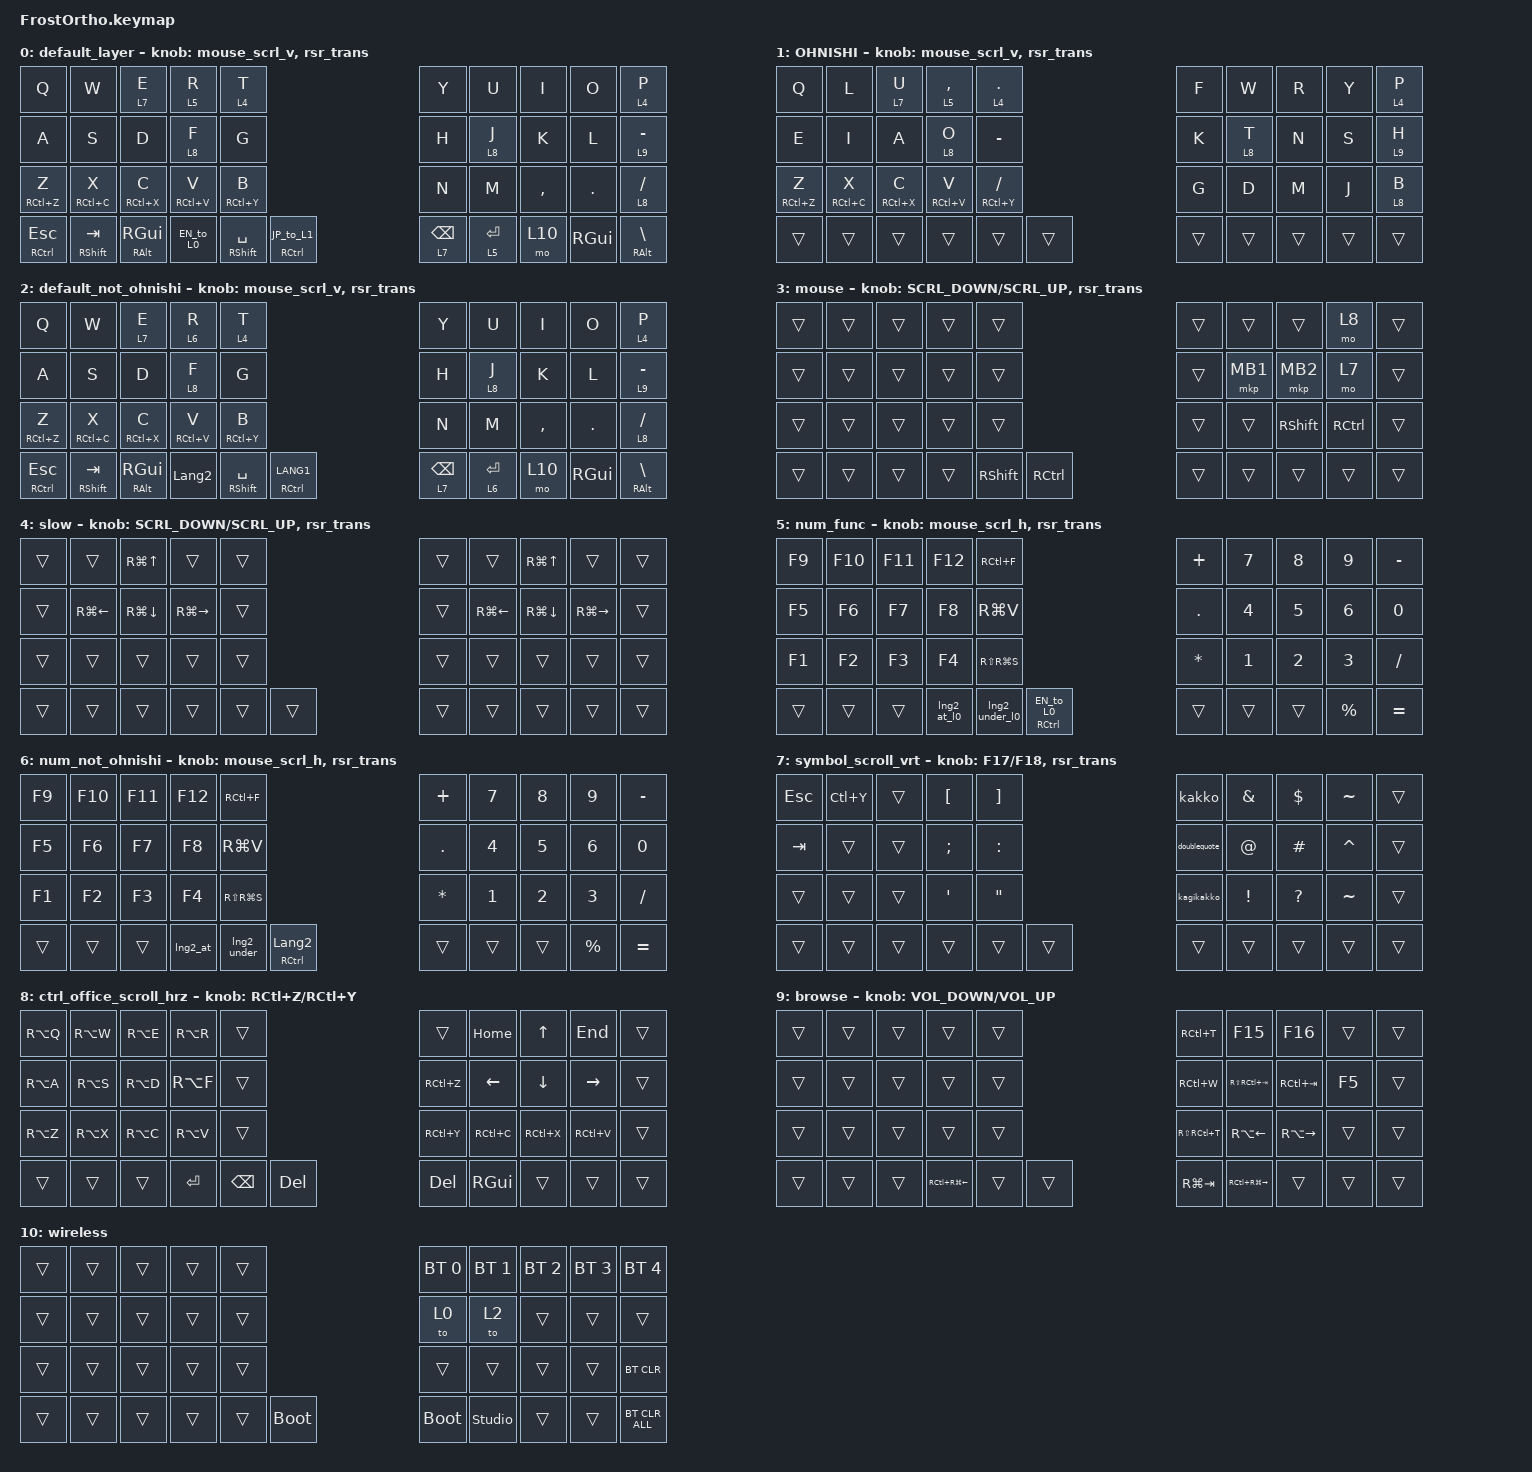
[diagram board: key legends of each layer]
#define ZMK_POINTING_DEFAULT_SCRL_VAL 150

#include <input/processors.dtsi>
#include <behaviors/runtime-sensor-rotate.dtsi>
#include <behaviors/runtime-sensor-rotate.dtsi>
#include <behaviors.dtsi>
#include <dt-bindings/zmk/bt.h>
#include <dt-bindings/zmk/keys.h>
#include <dt-bindings/zmk/pointing.h>

#define MOUSE 3

// AML クリックしたときにタイムアウトを延長
//解除キー廃止に伴い時間変更10000→400

&mkp_input_listener { input-processors = <&zip_temp_layer MOUSE 400>; };

/ {
    combos {
        compatible = "zmk,combos";

        kakko_left {
            bindings = <&kp LEFT_PARENTHESIS>;
            key-positions = <2 3>;
            layers = <0 2 1>;
            timeout-ms = <40>;
            require-prior-idle-ms = <120>;
        };

        kakko_right {
            bindings = <&kp RIGHT_PARENTHESIS>;
            key-positions = <6 7>;
            layers = <0 1 2>;
            timeout-ms = <40>;
            require-prior-idle-ms = <120>;
        };

        daikakko_left {
            bindings = <&kp LEFT_BRACKET>;
            key-positions = <12 13>;
            layers = <0 1 2>;
            timeout-ms = <40>;
            require-prior-idle-ms = <120>;
        };

        daikakko_right {
            bindings = <&kp RIGHT_BRACKET>;
            key-positions = <16 17>;
            layers = <1 0 2>;
            timeout-ms = <40>;
            require-prior-idle-ms = <120>;
        };

        chukakko_left {
            bindings = <&kp LEFT_BRACE>;
            key-positions = <22 23>;
            layers = <0 1 2>;
            timeout-ms = <40>;
            require-prior-idle-ms = <120>;
        };

        chukakko_right {
            bindings = <&kp RIGHT_BRACE>;
            key-positions = <26 27>;
            layers = <0 1 2>;
            timeout-ms = <40>;
            require-prior-idle-ms = <120>;
        };

        colon {
            bindings = <&kp COLON>;
            key-positions = <15 16>;
            timeout-ms = <40>;
            require-prior-idle-ms = <120>;
            layers = <0 1 2>;
        };

        semicolon {
            bindings = <&kp SEMICOLON>;
            key-positions = <13 14>;
            timeout-ms = <40>;
            require-prior-idle-ms = <120>;
            layers = <0 1 2>;
        };

        doublequote {
            bindings = <&kp DOUBLE_QUOTES>;
            key-positions = <25 26>;
            timeout-ms = <40>;
            require-prior-idle-ms = <120>;
            layers = <0 1 2>;
        };

        quote {
            bindings = <&kp SQT>;
            key-positions = <23 24>;
            timeout-ms = <40>;
            require-prior-idle-ms = <120>;
            layers = <0 1 2>;
        };

        at {
            bindings = <&kp RS(NUMBER_2)>;
            key-positions = <12 13>;
            timeout-ms = <40>;
            require-prior-idle-ms = <120>;
            layers = <5>;
        };
    };

    macros {
        to_layer_0: to_layer_0 {
            compatible = "zmk,behavior-macro-one-param";
            #binding-cells = <1>;
            bindings = <&to 0 &macro_param_1to1 &kp MACRO_PLACEHOLDER>;
            label = "TO_LAYER_0";
        };

        screenshot: screenshot {
            compatible = "zmk,behavior-macro";
            #binding-cells = <0>;
            bindings =
                <&to 7>,
                <&macro_press>,
                <&kp LEFT_WIN &kp LEFT_SHIFT &kp S>,
                <&macro_release>,
                <&kp LEFT_WIN &kp LEFT_SHIFT &kp S>;

            label = "SCREENSHOT";
        };

        EN_to_L0: EN_to_L0 {
            compatible = "zmk,behavior-macro";
            #binding-cells = <0>;
            bindings = <&to 0 &kp LANG2>;
            label = "EN_TO_L0";
        };

        JP_to_L1: JP_to_L1 {
            compatible = "zmk,behavior-macro";
            #binding-cells = <0>;
            bindings = <&to 1 &kp LANGUAGE_1>;
            label = "JP_TO_L1";
        };

        kakko: kakko {
            compatible = "zmk,behavior-macro";
            #binding-cells = <0>;
            bindings = <&kp LANGUAGE_2 &kp LEFT_PARENTHESIS &kp RIGHT_PARENTHESIS &kp LEFT>;
            label = "KAKKO";
        };

        doublequote: new_macro {
            compatible = "zmk,behavior-macro";
            #binding-cells = <0>;
            bindings = <&kp LANGUAGE_2 &kp DOUBLE_QUOTES &kp DOUBLE_QUOTES &kp LEFT>;
            label = "NEW_MACRO";
        };

        kagikakko: kagikakko {
            compatible = "zmk,behavior-macro";
            #binding-cells = <0>;
            bindings = <&kp LANGUAGE_1 &kp LEFT_BRACKET &kp RIGHT_BRACKET &kp SPACE &kp ENTER &kp LEFT>;
            label = "KAGIKAKKO";
        };

        sss: sss {
            compatible = "zmk,behavior-macro";
            #binding-cells = <0>;
            bindings =
                <&kp RIGHT_CONTROL>,
                <&macro_press>,
                <&macro_wait_time 20>,
                <&kp K_SCROLL_UP>,
                <&macro_tap>,
                <&macro_wait_time 20>,
                <&kp RIGHT_CONTROL>,
                <&macro_release>,
                <&macro_wait_time 20>;

            label = "SSS";
        };

        ddd: ddd {
            compatible = "zmk,behavior-macro";
            #binding-cells = <0>;
            bindings =
                <&kp RIGHT_CONTROL>,
                <&macro_press>,
                <&macro_wait_time 20>,
                <&kp Z>,
                <&macro_tap>,
                <&macro_wait_time 20>,
                <&kp RIGHT_CONTROL>,
                <&macro_release>,
                <&macro_wait_time 20>;

            label = "DDD";
        };

        lng2_under_l0: lng2_under_l0 {
            compatible = "zmk,behavior-macro";
            #binding-cells = <0>;
            bindings = <&kp LANGUAGE_2 &kp RS(MINUS) &to 0>;
            label = "LNG2_UNDER_L0";
        };

        lng2_at_l0: lng2_at_l0 {
            compatible = "zmk,behavior-macro";
            #binding-cells = <0>;
            bindings = <&kp LANGUAGE_2 &kp RS(NUMBER_2) &to 0>;
            label = "LNG2_AT_L0";
        };

        lng2_under: lng2_under {
            compatible = "zmk,behavior-macro";
            #binding-cells = <0>;
            bindings = <&kp LANGUAGE_2 &kp RS(MINUS)>;
            label = "LNG2_UNDER";
        };

        lng2_at: lng2_at {
            compatible = "zmk,behavior-macro";
            #binding-cells = <0>;
            bindings = <&kp LANGUAGE_2 &kp RS(NUMBER_2)>;
            label = "LNG2_AT";
        };
    };

    behaviors {
        lt_to_layer_0: lt_to_layer_0 {
            compatible = "zmk,behavior-hold-tap";
            label = "LAYER_TAP_TO_0";
            bindings = <&mo>, <&to_layer_0>;

            #binding-cells = <2>;
            tapping-term-ms = <300>;
        };

        // Kyemap Editor用

        scroll_up_down: behavior_sensor_rotate_mouse_wheel_up_down {
            compatible = "zmk,behavior-sensor-rotate";
            #sensor-binding-cells = <0>;
            tap-ms = <20>;
            bindings = <&msc SCRL_UP>, <&msc SCRL_DOWN>;
        };

        vol_up_down: vol_up_down {
            compatible = "zmk,behavior-sensor-rotate";
            #sensor-binding-cells = <0>;
            tap-ms = <5>;
            bindings = <&kp C_VOL_DN>, <&kp C_VOL_UP>;
        };

        // DYA Studio用

        rsr_vol: rsr_vol {
            compatible = "zmk,behavior-runtime-sensor-rotate";
            #sensor-binding-cells = <0>;
            tap-ms = <5>;
            cw-binding = <&kp C_VOL_DN>;
            ccw-binding = <&kp C_VOL_UP>;
        };

        // 引き継ぎ

        re_kp: sensor_rotate_kp {
            compatible = "zmk,behavior-sensor-rotate-var";
            #sensor-binding-cells = <2>;
            bindings = <&kp>, <&kp>;
        };

        mouse_scrl: mouse_wheel_scrl {
            compatible = "zmk,behavior-sensor-rotate-var";
            #sensor-binding-cells = <2>;
            bindings = <&msc>, <&msc>;

            tap-ms = <20>;
        };

        // ロータリーエンコーダー：縦スクロール（Smooth Scrolling向け）

        mouse_scrl_v: mouse_scroll_vertical {
            compatible = "zmk,behavior-sensor-rotate";
            #sensor-binding-cells = <0>;
            tap-ms = <20>;
            bindings = <&msc MOVE_Y(-900)>, <&msc MOVE_Y(900)>;
        };

        // ロータリーエンコーダー：横スクロール（Smooth Scrolling向け）

        mouse_scrl_h: mouse_scroll_horizontal {
            compatible = "zmk,behavior-sensor-rotate";
            #sensor-binding-cells = <0>;
            tap-ms = <20>;
            bindings = <&msc MOVE_X(900)>, <&msc MOVE_X(-900)>;
        };

        volume_up_down: volume_up_down {
            compatible = "zmk,behavior-sensor-rotate";
            label = "VOLUME_UP_DOWN";
            #sensor-binding-cells = <0>;
            bindings = <&kp C_VOLUME_UP>, <&kp C_VOLUME_DOWN>;

            tap-ms = <20>;
        };

        mt_L0EN: mt_L0EN {
            compatible = "zmk,behavior-hold-tap";
            label = "MT_L0EN";
            bindings = <&kp>, <&EN_to_L0>;

            #binding-cells = <2>;
            tapping-term-ms = <200>;
        };

        mt_L1JP: mt_L1JP {
            compatible = "zmk,behavior-hold-tap";
            label = "MT_L1JP";
            bindings = <&kp>, <&JP_to_L1>;

            #binding-cells = <2>;
            tapping-term-ms = <200>;
        };

        mt_qs_on: mt_qs_on {
            compatible = "zmk,behavior-hold-tap";
            label = "MT_QS_ON";
            bindings = <&kp>, <&kp>;

            #binding-cells = <2>;
            tapping-term-ms = <200>;
            quick-tap-ms = <200>;
            flavor = "tap-preferred";
        };

        lt_qs_on: lt_qs_on {
            compatible = "zmk,behavior-hold-tap";
            label = "LT_QS_ON";
            bindings = <&mo>, <&kp>;

            #binding-cells = <2>;
            tapping-term-ms = <200>;
            quick-tap-ms = <200>;
            flavor = "tap-preferred";
        };

        rotate_test: rotate_test {
            compatible = "zmk,behavior-sensor-rotate-var";
            label = "ROTATE_TEST";
            #sensor-binding-cells = <2>;
            bindings = <&sss>, <&ddd>;

            tap-ms = <200>;
        };
    };

    keymap {
        compatible = "zmk,keymap";

        default_layer {
            bindings = <
&kp Q                  &kp W                &lt_qs_on 7 E            &lt_qs_on 5 R      &lt_qs_on 4 T                                              &kp Y                  &kp U              &kp I      &kp O          &lt_qs_on 4 P
&kp A                  &kp S                &kp D                    &lt_qs_on 8 F      &kp G                                                      &kp H                  &lt_qs_on 8 J      &kp K      &kp L          &lt_qs_on 9 MINUS
&mt_qs_on RC(Z) Z      &mt_qs_on RC(C) X    &mt_qs_on RC(X) C        &mt_qs_on RC(V) V  &mt_qs_on RC(Y) B                                          &kp N                  &kp M              &kp COMMA  &kp PERIOD     &lt_qs_on 8 SLASH
&mt RIGHT_CONTROL ESC  &mt RIGHT_SHIFT TAB  &mt RIGHT_ALT RIGHT_GUI  &EN_to_L0          &mt_qs_on RIGHT_SHIFT SPACE  &mt_L1JP RIGHT_CONTROL 0      &lt_qs_on 7 BACKSPACE  &lt_qs_on 5 ENTER  &mo 10     &kp RIGHT_GUI  &mt_qs_on RIGHT_ALT BACKSLASH
            >;

            sensor-bindings = <&mouse_scrl_v>, <&rsr_trans>;
        };

        OHNISHI {
            bindings = <
&kp Q              &kp L              &lt_qs_on 7 U      &lt_qs_on 5 COMMA  &lt_qs_on 4 DOT                    &kp F   &kp W          &kp R   &kp Y   &lt_qs_on 4 P
&kp E              &kp I              &kp A              &lt_qs_on 8 O      &kp MINUS                          &kp K   &lt_qs_on 8 T  &kp N   &kp S   &lt_qs_on 9 H
&mt_qs_on RC(Z) Z  &mt_qs_on RC(C) X  &mt_qs_on RC(X) C  &mt_qs_on RC(V) V  &mt_qs_on RC(Y) SLASH              &kp G   &kp D          &kp M   &kp J   &lt_qs_on 8 B
&trans             &trans             &trans             &trans             &trans                 &trans      &trans  &trans         &trans  &trans  &trans
            >;

            sensor-bindings = <&mouse_scrl_v>, <&rsr_trans>;
        };

        default_not_ohnishi {
            bindings = <
&kp Q                        &kp W                      &lt_qs_on 7 E                  &lt_qs_on 6 R      &lt_qs_on 4 T                                                   &kp Y                  &kp U              &kp I      &kp O          &lt_qs_on 4 P
&kp A                        &kp S                      &kp D                          &lt_qs_on 8 F      &kp G                                                           &kp H                  &lt_qs_on 8 J      &kp K      &kp L          &lt_qs_on 9 MINUS
&mt_qs_on RC(Z) Z            &mt_qs_on RC(C) X          &mt_qs_on RC(X) C              &mt_qs_on RC(V) V  &mt_qs_on RC(Y) B                                               &kp N                  &kp M              &kp COMMA  &kp PERIOD     &lt_qs_on 8 SLASH
&mt_qs_on RIGHT_CONTROL ESC  &mt_qs_on RIGHT_SHIFT TAB  &mt_qs_on RIGHT_ALT RIGHT_GUI  &kp LANGUAGE_2     &mt_qs_on RIGHT_SHIFT SPACE  &mt_qs_on RIGHT_CONTROL LANG1      &lt_qs_on 7 BACKSPACE  &lt_qs_on 6 ENTER  &mo 10     &kp RIGHT_GUI  &mt_qs_on RIGHT_ALT BACKSLASH
            >;

            sensor-bindings = <&mouse_scrl_v>, <&rsr_trans>;
        };

        mouse {
            bindings = <
&trans  &trans  &trans  &trans  &trans                                  &trans  &trans    &trans           &mo 8              &trans
&trans  &trans  &trans  &trans  &trans                                  &trans  &mkp MB1  &mkp MB2         &mo 7              &trans
&trans  &trans  &trans  &trans  &trans                                  &trans  &trans    &kp RIGHT_SHIFT  &kp RIGHT_CONTROL  &trans
&trans  &trans  &trans  &trans  &kp RIGHT_SHIFT  &kp RIGHT_CONTROL      &trans  &trans    &trans           &trans             &trans
            >;

            sensor-bindings = <&mouse_scrl SCRL_DOWN SCRL_UP>, <&rsr_trans>;
        };

        slow {
            bindings = <
&trans  &trans        &kp RG(UP)    &trans         &trans              &trans  &trans        &kp RG(UP)    &trans         &trans
&trans  &kp RG(LEFT)  &kp RG(DOWN)  &kp RG(RIGHT)  &trans              &trans  &kp RG(LEFT)  &kp RG(DOWN)  &kp RG(RIGHT)  &trans
&trans  &trans        &trans        &trans         &trans              &trans  &trans        &trans        &trans         &trans
&trans  &trans        &trans        &trans         &trans  &trans      &trans  &trans        &trans        &trans         &trans
            >;

            sensor-bindings = <&mouse_scrl SCRL_DOWN SCRL_UP>, <&rsr_trans>;
        };

        num_func {
            bindings = <
&kp F9  &kp F10  &kp F11  &kp F12      &kp RC(F)                                     &kp PLUS   &kp N7  &kp N8  &kp N9       &kp MINUS
&kp F5  &kp F6   &kp F7   &kp F8       &kp RG(V)                                     &kp DOT    &kp N4  &kp N5  &kp N6       &kp N0
&kp F1  &kp F2   &kp F3   &kp F4       &kp RS(RG(S))                                 &kp ASTRK  &kp N1  &kp N2  &kp N3       &kp FSLH
&trans  &trans   &trans   &lng2_at_l0  &lng2_under_l0  &mt_L0EN RIGHT_CONTROL 0      &trans     &trans  &trans  &kp PERCENT  &kp EQUAL
            >;

            sensor-bindings = <&mouse_scrl_h>, <&rsr_trans>;
        };

        num_not_ohnishi {
            bindings = <
&kp F9  &kp F10  &kp F11  &kp F12   &kp RC(F)                                        &kp PLUS   &kp N7  &kp N8  &kp N9       &kp MINUS
&kp F5  &kp F6   &kp F7   &kp F8    &kp RG(V)                                        &kp DOT    &kp N4  &kp N5  &kp N6       &kp N0
&kp F1  &kp F2   &kp F3   &kp F4    &kp RS(RG(S))                                    &kp ASTRK  &kp N1  &kp N2  &kp N3       &kp FSLH
&trans  &trans   &trans   &lng2_at  &lng2_under    &mt RIGHT_CONTROL LANGUAGE_2      &trans     &trans  &trans  &kp PERCENT  &kp EQUAL
            >;

            sensor-bindings = <&mouse_scrl_h>, <&rsr_trans>;
        };

        symbol_scroll_vrt {
            bindings = <
&kp ESC  &kp LC(Y)  &trans  &kp LBKT       &kp RBKT                       &kakko        &kp AMPERSAND    &kp DOLLAR    &kp TILDE  &trans
&kp TAB  &trans     &trans  &kp SEMICOLON  &kp COLON                      &doublequote  &kp AT_SIGN      &kp HASH      &kp CARET  &trans
&trans   &trans     &trans  &kp SQT        &kp DOUBLE_QUOTES              &kagikakko    &kp EXCLAMATION  &kp QUESTION  &kp TILDE  &trans
&trans   &trans     &trans  &trans         &trans             &trans      &trans        &trans           &trans        &trans     &trans
            >;

            sensor-bindings = <&re_kp F17 F18>, <&rsr_trans>;
        };

        ctrl_office_scroll_hrz {
            bindings = <
&kp RA(Q)  &kp RA(W)  &kp RA(E)  &kp RA(R)  &trans                         &trans      &kp HOME       &kp UP     &kp END    &trans
&kp RA(A)  &kp RA(S)  &kp RA(D)  &kp RA(F)  &trans                         &kp RC(Z)   &kp LEFT       &kp DOWN   &kp RIGHT  &trans
&kp RA(Z)  &kp RA(X)  &kp RA(C)  &kp RA(V)  &trans                         &kp RC(Y)   &kp RC(C)      &kp RC(X)  &kp RC(V)  &trans
&trans     &trans     &trans     &kp ENTER  &kp BACKSPACE  &kp DELETE      &kp DELETE  &kp RIGHT_GUI  &trans     &trans     &trans
            >;

            sensor-bindings = <&re_kp RC(Z) RC(Y)>;
        };

        browse {
            bindings = <
&trans  &trans  &trans  &trans            &trans              &kp RC(T)      &kp F15            &kp F16        &trans  &trans
&trans  &trans  &trans  &trans            &trans              &kp RC(W)      &kp RS(RC(TAB))    &kp RC(TAB)    &kp F5  &trans
&trans  &trans  &trans  &trans            &trans              &kp RS(RC(T))  &kp RA(LEFT)       &kp RA(RIGHT)  &trans  &trans
&trans  &trans  &trans  &kp RC(RG(LEFT))  &trans  &trans      &kp RG(TAB)    &kp RC(RG(RIGHT))  &trans         &trans  &trans
            >;

            sensor-bindings = <&re_kp C_VOLUME_DOWN C_VOLUME_UP>;
        };

        wireless {
            bindings = <
&trans  &trans  &trans  &trans  &trans                   &bt BT_SEL 0  &bt BT_SEL 1    &bt BT_SEL 2  &bt BT_SEL 3  &bt BT_SEL 4
&trans  &trans  &trans  &trans  &trans                   &to 0         &to 2           &trans        &trans        &trans
&trans  &trans  &trans  &trans  &trans                   &trans        &trans          &trans        &trans        &bt BT_CLR
&trans  &trans  &trans  &trans  &trans  &bootloader      &bootloader   &studio_unlock  &trans        &trans        &bt BT_CLR_ALL
            >;
        };
    };
};
